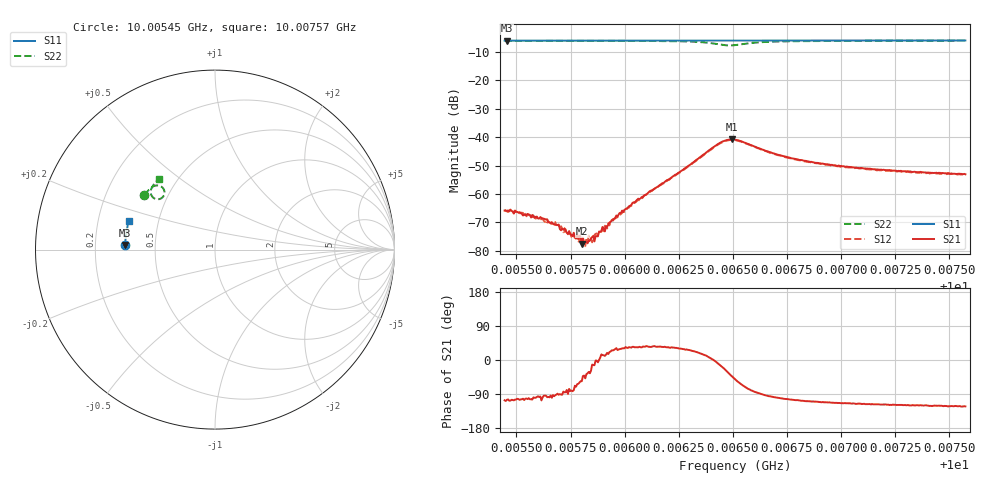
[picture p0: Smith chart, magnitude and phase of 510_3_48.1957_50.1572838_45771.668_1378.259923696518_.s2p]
#  HZ  S  RI  R  50.00
! Rohde & Schwarz Vector Network Analyzer
! Rohde-Schwarz,ZNB20-2Port,1311601062101988,3.16
! Created: UTC 3/20/2024, 11:58:56 AM
! freq[Hz]  re:S11  im:S11  re:S21  im:S21  re:S12  im:S12  re:S22  im:S22
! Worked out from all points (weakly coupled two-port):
!   401 points, 10.00545 GHz to 10.00757 GHz, reference 50 ohm
!   highest |S21| = -40.78 dB at 10.00649 GHz (marker M1); lowest = -77.5 dB at 10.0058 GHz (marker M2)
!   lowest |S11| = -6.0 dB at 10.00546 GHz (marker M3), VSWR 3.01, Z = 16.6 + j1.18 ohm
!   |S11| at or under -10 dB: nowhere
!   |S22| runs from -7.7 to -6.0 dB; largest |S21 - S12| = 0.00055
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1.0005445e10  -0.5004 0.0257  -0.000143 -0.00049  -0.000109 -0.000514  -0.3929 0.3031
1.0005456e10  -0.5002 0.0265  -0.000129 -0.000485  -0.000103 -0.000483  -0.3925 0.3037
1.0005562e10  -0.5002 0.0334  -0.000101 -0.000413  -4.75e-05 -0.00041  -0.3879 0.3101
1.0005631e10  -0.4999 0.0378  -2.42e-05 -0.00036  -3.46e-05 -0.000323  -0.3845 0.3143
1.000569e10  -0.4999 0.0416  4.99e-06 -0.000284  1.93e-05 -0.000305  -0.3818 0.3178
1.0005727e10  -0.4995 0.0443  2.01e-05 -0.000225  1.62e-05 -0.000237  -0.3801 0.3201
1.0005802e10  -0.4992 0.049  7.47e-05 -0.000111  8.82e-05 -0.000136  -0.3763 0.3246
1.0005823e10  -0.4991 0.0505  0.000113 -8.62e-05  0.000114 -0.000125  -0.375 0.3261
1.0005834e10  -0.4991 0.0511  0.000129 -7.87e-05  0.000163 -8.66e-05  -0.3745 0.3268
1.000585e10  -0.4991 0.0521  0.00017 -3.65e-05  0.000137 -3.17e-05  -0.3736 0.3278
1.0005866e10  -0.4989 0.053  0.000181 -4.43e-06  0.000198 1.19e-05  -0.3728 0.3288
1.0005892e10  -0.4989 0.0548  0.000216 5.75e-05  0.000214 3.43e-05  -0.3712 0.3304
1.0005914e10  -0.4988 0.0562  0.00026 6.44e-05  0.00026 7.7e-05  -0.3699 0.3318
1.0005983e10  -0.4984 0.0608  0.000401 0.000226  0.000372 0.000241  -0.3652 0.3365
1.0006158e10  -0.4972 0.0721  0.00114 0.000802  0.00109 0.000849  -0.3498 0.349
1.0006425e10  -0.4942 0.0893  0.00728 -0.000769  0.00711 -0.00035  -0.2844 0.3334
1.0006494e10  -0.4935 0.0929  0.00678 -0.00614  0.00695 -0.00566  -0.2978 0.2868
1.000651e10  -0.4934 0.0939  0.00571 -0.00699  0.00596 -0.00651  -0.3088 0.2816
1.0006696e10  -0.4922 0.1057  -0.000756 -0.00499  -0.000524 -0.00494  -0.3581 0.3236
1.0006866e10  -0.4902 0.1167  -0.00123 -0.00343  -0.001 -0.00344  -0.351 0.3474
1.0007223e10  -0.4848 0.1393  -0.00127 -0.00231  -0.00108 -0.00233  -0.3317 0.3738
1.0007575e10  -0.4789 0.1611  -0.00119 -0.00187  -0.00109 -0.0019  -0.3136 0.3922
